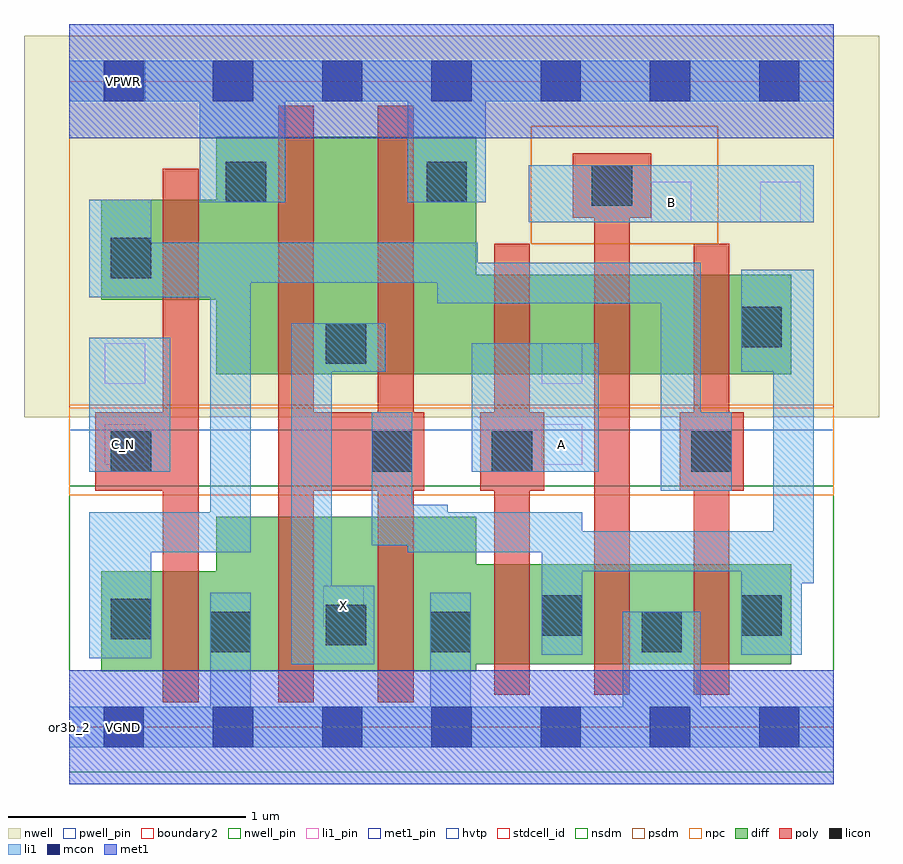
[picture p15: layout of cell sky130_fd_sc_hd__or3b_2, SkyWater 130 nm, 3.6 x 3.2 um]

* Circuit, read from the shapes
.subckt sky130_fd_sc_hd__or3b_2 A B C_N VGND VNB VPB VPWR X
XM1 VGND C_N n1 VNB sky130_fd_pr__nfet_01v8 w=0.42 l=0.15
XM2 X n2 VGND VNB sky130_fd_pr__nfet_01v8 w=0.65 l=0.15 m=2
XM3 n2 A VGND VNB sky130_fd_pr__nfet_01v8 w=0.42 l=0.15
XM4 VGND B n2 VNB sky130_fd_pr__nfet_01v8 w=0.42 l=0.15
XM5 n2 n1 VGND VNB sky130_fd_pr__nfet_01v8 w=0.42 l=0.15
XM6 VPWR C_N n1 VPB sky130_fd_pr__pfet_01v8_hvt w=0.42 l=0.15
XM7 X n2 VPWR VPB sky130_fd_pr__pfet_01v8_hvt w=1 l=0.15 m=2
XM8 n3 A VPWR VPB sky130_fd_pr__pfet_01v8_hvt w=0.42 l=0.15
XM9 n4 B n3 VPB sky130_fd_pr__pfet_01v8_hvt w=0.42 l=0.15
XM10 n2 n1 n4 VPB sky130_fd_pr__pfet_01v8_hvt w=0.42 l=0.15
.ends

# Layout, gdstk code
import gdstk
lib = gdstk.Library(unit=1e-6, precision=1e-09)
def R(c, l, rs):  # rectangles x0, y0, x1, y1
    for r in rs: c.add(gdstk.rectangle(r[:2], r[2:], *l))
def A(c, l, x, y, w, h, nx, ny, dx, dy):  # array of equal rectangles
    R(c, l, [(x+i*dx, y+j*dy, x+i*dx+w, y+j*dy+h) for i in range(nx) for j in range(ny)])
def P(c, l, *ps):  # polygons
    for p in ps: c.add(gdstk.Polygon(p, *l))
nwell_pin = (64, 16)
nwell = (64, 20)
diff = (65, 20)
poly = (66, 20)
licon = (66, 44)
li1_pin = (67, 16)
li1 = (67, 20)
mcon = (67, 44)
met1_pin = (68, 16)
met1 = (68, 20)
hvtp = (78, 44)
stdcell_id = (81, 4)
nsdm = (93, 44)
psdm = (94, 20)
npc = (95, 20)
pwell_pin = (122, 16)
boundary2 = (236, 0)

sky130_fd_sc_hd__or3b_2 = lib.new_cell('sky130_fd_sc_hd__or3b_2')
R(sky130_fd_sc_hd__or3b_2, nwell_pin, [(0.15,2.635,0.32,2.805)])
R(sky130_fd_sc_hd__or3b_2, nwell, [(-0.19,1.305,3.41,2.91)])
P(sky130_fd_sc_hd__or3b_2, diff, [(3.04,0.685),(1.715,0.685),(1.715,0.885),(0.62,0.885),(0.62,0.655),(0.135,0.655),(0.135,0.235),(1.715,0.235),(1.715,0.265),(3.04,0.265)],
  [(3.04,1.905),(1.715,1.905),(1.715,2.485),(0.62,2.485),(0.62,2.22),(0.135,2.22),(0.135,1.8),(0.62,1.8),(0.62,1.485),(3.04,1.485)])
P(sky130_fd_sc_hd__or3b_2, poly, [(2.45,2.415),(2.12,2.415),(2.12,2.145),(2.21,2.145),(2.21,0.135),(2.36,0.135),(2.36,2.145),(2.45,2.145)],
  [(2,1.325),(1.94,1.325),(1.94,2.035),(1.79,2.035),(1.79,1.325),(1.73,1.325),(1.73,0.995),(1.79,0.995),(1.79,0.135),(1.94,0.135),(1.94,0.995),(2,0.995)],
  [(1.495,1.325),(1.45,1.325),(1.45,2.615),(1.3,2.615),(1.3,1.325),(1.03,1.325),(1.03,2.615),(0.88,2.615),(0.88,0.105),(1.03,0.105),(1.03,0.995),(1.3,0.995),(1.3,0.105),(1.45,0.105),(1.45,0.995),(1.495,0.995)],
  [(2.84,1.325),(2.78,1.325),(2.78,2.035),(2.63,2.035),(2.63,1.325),(2.57,1.325),(2.57,0.995),(2.63,0.995),(2.63,0.135),(2.78,0.135),(2.78,0.995),(2.84,0.995)],
  [(0.545,2.35),(0.395,2.35),(0.395,1.325),(0.11,1.325),(0.11,0.995),(0.395,0.995),(0.395,0.105),(0.545,0.105)])
R(sky130_fd_sc_hd__or3b_2, licon, [(0.595,0.315,0.765,0.485), (1.52,0.315,1.69,0.485), (2.41,0.315,2.58,0.485), (1.08,0.345,1.25,0.515), (0.175,0.37,0.345,0.54), (1.99,0.385,2.16,0.555), (2.83,0.385,3,0.555), (0.175,1.075,0.345,1.245), (1.275,1.075,1.445,1.245), (1.78,1.075,1.95,1.245), (2.62,1.075,2.79,1.245), (1.08,1.53,1.25,1.7), (2.83,1.6,3,1.77), (0.175,1.89,0.345,2.06), (2.2,2.195,2.37,2.365), (0.66,2.21,0.83,2.38), (1.505,2.21,1.675,2.38)])
R(sky130_fd_sc_hd__or3b_2, li1_pin, [(1.07,0.425,1.24,0.595), (0.15,1.105,0.32,1.275), (1.99,1.105,2.16,1.275), (0.15,1.445,0.32,1.615), (1.99,1.445,2.16,1.615), (2.45,2.125,2.62,2.295), (2.91,2.125,3.08,2.295)])
R(sky130_fd_sc_hd__or3b_2, li1, [(0.085,1.075,0.425,1.64), (1.695,1.075,2.23,1.615), (1.935,2.125,3.135,2.365)])
P(sky130_fd_sc_hd__or3b_2, li1, [(3.22,0.085),(2.66,0.085),(2.66,0.485),(2.33,0.485),(2.33,0.085),(1.69,0.085),(1.69,0.565),(1.52,0.565),(1.52,0.085),(0.765,0.085),(0.765,0.565),(0.595,0.565),(0.595,0.085),(0,0.085),(0,-0.085),(3.22,-0.085)],
  [(2.79,1.325),(2.66,1.325),(2.66,1.955),(1.72,1.955),(1.72,2.04),(0.345,2.04),(0.345,2.22),(0.085,2.22),(0.085,1.81),(0.595,1.81),(0.595,0.905),(0.085,0.905),(0.085,0.29),(0.345,0.29),(0.345,0.735),(0.765,0.735),(0.765,1.87),(1.55,1.87),(1.55,1.785),(2.49,1.785),(2.49,0.995),(2.79,0.995)],
  [(3.22,2.805),(0,2.805),(0,2.635),(0.55,2.635),(0.55,2.21),(0.91,2.21),(0.91,2.635),(1.425,2.635),(1.425,2.21),(1.755,2.21),(1.755,2.635),(3.22,2.635)],
  [(3.135,1.925),(2.83,1.925),(2.83,1.495),(2.965,1.495),(2.965,0.825),(2.16,0.825),(2.16,0.905),(1.595,0.905),(1.595,0.935),(1.445,0.935),(1.445,1.325),(1.275,1.325),(1.275,0.765),(1.425,0.765),(1.425,0.735),(1.99,0.735),(1.99,0.305),(2.16,0.305),(2.16,0.655),(2.83,0.655),(2.83,0.305),(3.085,0.305),(3.085,0.605),(3.135,0.605)],
  [(1.33,1.7),(0.935,1.7),(0.935,0.265),(1.285,0.265),(1.285,0.595),(1.105,0.595),(1.105,1.495),(1.33,1.495)])
A(sky130_fd_sc_hd__or3b_2, mcon, 0.145, -0.085, 0.17, 0.17, 7, 2, 0.46, 2.72)
R(sky130_fd_sc_hd__or3b_2, met1_pin, [(0.145,-0.085,0.315,0.085), (0.15,2.635,0.32,2.805)])
R(sky130_fd_sc_hd__or3b_2, hvtp, [(0,1.25,3.22,2.72)])
R(sky130_fd_sc_hd__or3b_2, stdcell_id, [(0,0,3.22,2.72)])
R(sky130_fd_sc_hd__or3b_2, nsdm, [(0,-0.19,3.22,1.015)])
P(sky130_fd_sc_hd__or3b_2, psdm, [(3.22,2.91),(2.73,2.91),(2.73,2.035),(1.945,2.035),(1.945,2.53),(2.73,2.53),(2.73,2.91),(0,2.91),(0,1.355),(3.22,1.355)])
R(sky130_fd_sc_hd__or3b_2, npc, [(0,0.975,3.22,1.345), (1.945,2.035,2.73,2.53)])
R(sky130_fd_sc_hd__or3b_2, pwell_pin, [(0.145,-0.085,0.315,0.085)])
R(sky130_fd_sc_hd__or3b_2, boundary2, [(0,0,3.22,2.72)])
sky130_fd_sc_hd__or3b_2.add(gdstk.FlexPath([(0,0),(3.22,0)], 0.48, ends="flush", simple_path=True, layer=68, datatype=20))  # met1
sky130_fd_sc_hd__or3b_2.add(gdstk.FlexPath([(0,2.72),(3.22,2.72)], 0.48, ends="flush", simple_path=True, layer=68, datatype=20))  # met1
sky130_fd_sc_hd__or3b_2.add(gdstk.Label('A', (2.075,1.19), layer=67, texttype=5))
sky130_fd_sc_hd__or3b_2.add(gdstk.Label('B', (2.535,2.21), layer=67, texttype=5))
sky130_fd_sc_hd__or3b_2.add(gdstk.Label('C_N', (0.23,1.19), layer=67, texttype=5))
sky130_fd_sc_hd__or3b_2.add(gdstk.Label('X', (1.155,0.51), layer=67, texttype=5))
sky130_fd_sc_hd__or3b_2.add(gdstk.Label('VPWR', (0.23,2.72), layer=68, texttype=5))
sky130_fd_sc_hd__or3b_2.add(gdstk.Label('VGND', (0.23,0), layer=68, texttype=5))
sky130_fd_sc_hd__or3b_2.add(gdstk.Label('VPB', (0.235,2.72), layer=64, texttype=5))
sky130_fd_sc_hd__or3b_2.add(gdstk.Label('VNB', (0.23,0), layer=64, texttype=59))
sky130_fd_sc_hd__or3b_2.add(gdstk.Label('or3b_2', (0,0), layer=83, texttype=44))

lib.write_gds('sky130_fd_sc_hd__or3b_2.gds')
